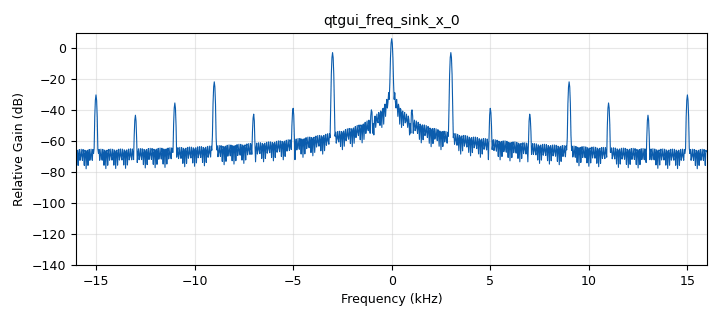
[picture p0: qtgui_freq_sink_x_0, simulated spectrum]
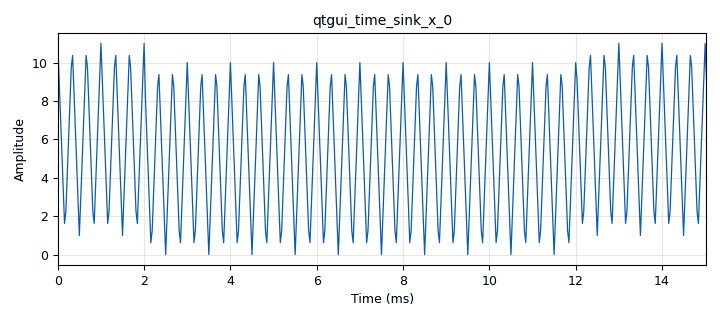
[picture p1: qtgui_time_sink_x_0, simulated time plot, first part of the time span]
options:
  parameters:
    author: Juan David Barrero
    description: Aca se vera las operaciones las señales que se pueden hacer GNU radio
    generate_options: qt_gui
    id: mathOperation
    output_language: python
    title: OperacionesMatematicas
  states: {}

blocks:
- name: amplitud
  id: variable
  parameters:
    comment: |-
      Determina la amplitud
      de la señal 
      trangular
    value: '10'
  states: {}
- name: rango
  id: variable_qtgui_range
  parameters:
    comment: |-
      Permite controlar la frecuancia
      de la señales utilizando
      un slider
    label: frecuencia
    orient: Qt.Horizontal
    start: '0'
    step: '30'
    stop: 2e3
    value: '50'
  states: {}
- name: samp_rate
  id: variable
  parameters:
    value: '32000'
  states: {}
- name: selector
  id: variable_qtgui_chooser
  parameters:
    comment: |-
      Permite crear un selector para determinar que tipo de operación 
      se quierea realizar
    label: operaciones
    label0: suma
    label1: multiplicacion
    label2: division
    num_opts: '3'
    option0: '0'
    option1: '1'
    option2: '2'
    orient: Qt.QHBoxLayout
    type: int
    value: '0'
    widget: radio_buttons
  states: {}
- name: analog_const_source_x_0
  id: analog_const_source_x
  parameters:
    const: '5'
    type: float
  states: {}
- name: analog_sig_source_x_0
  id: analog_sig_source_x
  parameters:
    amp: amplitud
    freq: 3e3
    offset: '0'
    phase: '0'
    samp_rate: samp_rate
    type: float
    waveform: analog.GR_TRI_WAVE
  states: {}
- name: analog_sig_source_x_0_0
  id: analog_sig_source_x
  parameters:
    amp: '1'
    freq: rango
    offset: '0'
    phase: '0'
    samp_rate: samp_rate
    type: float
    waveform: analog.GR_SQR_WAVE
  states: {}
- name: blocks_add_xx_0
  id: blocks_add_xx
  parameters:
    type: float
  states: {}
- name: blocks_divide_xx_0
  id: blocks_divide_xx
  parameters:
    type: float
  states: {}
- name: blocks_multiply_xx_0
  id: blocks_multiply_xx
  parameters:
    type: float
  states: {}
- name: blocks_selector_0
  id: blocks_selector
  parameters:
    enabled: 'True'
    input_index: selector
    num_inputs: '3'
    num_outputs: '1'
    output_index: '0'
    type: float
  states: {}
- name: blocks_throttle_0
  id: blocks_throttle
  parameters:
    samples_per_second: samp_rate
    type: float
  states: {}
- name: blocks_throttle_0_0
  id: blocks_throttle
  parameters:
    samples_per_second: samp_rate
    type: float
  states: {}
- name: note_0
  id: note
  parameters:
    note: Este bloque solo se puede utilizar en conjuto con el GUI chooser
  states: {}
- name: note_2
  id: note
  parameters:
    note: Permite ver en el domino de la frecuencia el comportamiento de la señal
  states: {}
- name: qtgui_freq_sink_x_0
  id: qtgui_freq_sink_x
  parameters:
    bw: samp_rate
    fc: '0'
    fftsize: '1024'
    type: float
    wintype: firdes.WIN_BLACKMAN_hARRIS
  states: {}
- name: qtgui_time_sink_x_0
  id: qtgui_time_sink_x
  parameters:
    autoscale: 'True'
    size: '1024'
    srate: samp_rate
    type: float
  states: {}

connections:
- [analog_const_source_x_0, '0', blocks_divide_xx_0, '1']
- [analog_sig_source_x_0, '0', blocks_throttle_0_0, '0']
- [analog_sig_source_x_0_0, '0', blocks_throttle_0, '0']
- [blocks_add_xx_0, '0', blocks_selector_0, '0']
- [blocks_divide_xx_0, '0', blocks_selector_0, '2']
- [blocks_multiply_xx_0, '0', blocks_selector_0, '1']
- [blocks_selector_0, '0', qtgui_freq_sink_x_0, '0']
- [blocks_selector_0, '0', qtgui_time_sink_x_0, '0']
- [blocks_throttle_0, '0', blocks_add_xx_0, '0']
- [blocks_throttle_0, '0', blocks_divide_xx_0, '0']
- [blocks_throttle_0, '0', blocks_multiply_xx_0, '0']
- [blocks_throttle_0_0, '0', blocks_add_xx_0, '1']
- [blocks_throttle_0_0, '0', blocks_multiply_xx_0, '1']

metadata:
  file_format: 1
